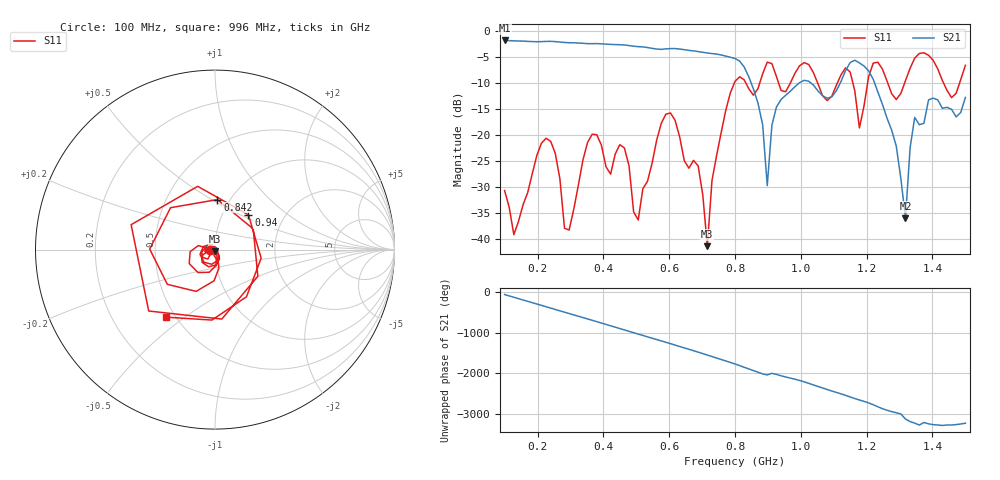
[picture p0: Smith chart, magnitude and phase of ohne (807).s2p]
! NanoVNA-App
! Date: 2025-09-25 14:27:05
! Start: 100MHz Stop: 1,5GHz Points: 101
! S-Parameter data: F S11 S21 S12 S22
# Hz S RI R 50
!  Frequency  S11_Real  S11_Imag  S21_Real  S21_Imag  S12_Real  S12_Imag  S22_Real  S22_Imag
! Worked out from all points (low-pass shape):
!   101 points, 100 MHz to 1.5 GHz, reference 50 ohm
!   highest |S21| = -1.79 dB at 100 MHz (marker M1); lowest = -35.9 dB at 1.318 GHz (marker M2)
!   |S21| within 3 dB of the highest: start of sweep to 771 MHz
!   lowest |S11| = -41.3 dB at 716 MHz (marker M3), VSWR 1.02, Z = 49.8 - j0.839 ohm
!   |S11| at or under -10 dB: start of sweep to 797.9 MHz; 833.2 MHz to 875.1 MHz (41.88 MHz wide, 4.9 % of centre); 1.051 GHz to 1.111 GHz (59.48 MHz wide, 5.5 % of centre) (the widest 3 of 7)
!   S12 and S22 are empty: the file has one direction only
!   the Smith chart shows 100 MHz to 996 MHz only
!   S11 on the Smith chart (normalised r, x): 100 MHz: 0.94, -0.01; 842 MHz: 0.88, +0.53; 940 MHz: 1.33, +0.55; 996 MHz: 0.45, -0.43
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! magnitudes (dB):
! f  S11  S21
! 100 MHz  -30.6  -1.8
! 128 MHz  -39.1  -1.9
! 226 MHz  -20.6  -2.0
! 296 MHz  -38.2  -2.2
! 338 MHz  -24.8  -2.3
! 464 MHz  -22.5  -2.7
! 506 MHz  -36.3  -3.0
! 576 MHz  -17.7  -3.5
! 688 MHz  -25.9  -3.9
! 716 MHz  -41.3  -4.2
! 730 MHz  -28.7  -4.3
! 800 MHz  -9.7  -5.3
! 842 MHz  -11.1  -8.8
! 898 MHz  -6.0  -29.7
! 940 MHz  -11.4  -13.1
! 996 MHz  -6.7  -9.9
! 1.038 GHz  -8.0  -10.4
! 1.164 GHz  -11.5  -5.6
! 1.276 GHz  -12.0  -19.0
! 1.318 GHz  -9.5  -35.9
! 1.346 GHz  -5.2  -16.6
! 1.5 GHz  -6.6  -12.7
